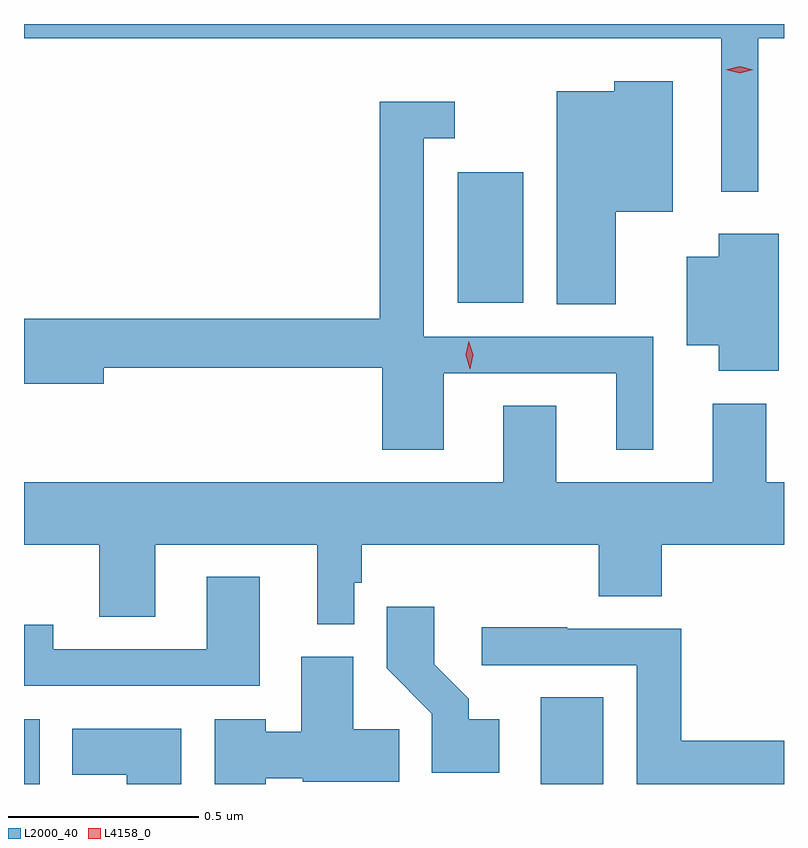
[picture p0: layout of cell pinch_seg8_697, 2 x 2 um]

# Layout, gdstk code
import gdstk
lib = gdstk.Library(unit=1e-6, precision=1e-09)
def R(c, l, rs):  # rectangles x0, y0, x1, y1
    for r in rs: c.add(gdstk.rectangle(r[:2], r[2:], *l))
def P(c, l, *ps):  # polygons
    for p in ps: c.add(gdstk.Polygon(p, *l))
L2000_40 = (2000, 40)
L4158_0 = (4158, 0)

pinch_seg8_697 = lib.new_cell('pinch_seg8_697')
R(pinch_seg8_697, L2000_40, [(244.102,1114.538,244.144,1114.708), (245.462,1114.538,245.626,1114.766), (245.243,1115.804,245.416,1116.148)])
P(pinch_seg8_697, L2000_40, [(246.034,1116.5),(246.102,1116.5),(246.102,1116.538),(244.102,1116.538),(244.102,1116.5),(245.937,1116.5),(245.937,1116.096),(246.034,1116.096)],
  [(245.659,1116.044),(245.809,1116.044),(245.809,1116.388),(245.655,1116.388),(245.655,1116.361),(245.504,1116.361),(245.504,1115.8),(245.659,1115.8)],
  [(245.206,1115.619),(245.66,1115.619),(245.66,1115.418),(245.758,1115.418),(245.758,1115.715),(245.154,1115.715),(245.154,1116.237),(245.236,1116.237),(245.236,1116.334),(245.038,1116.334),(245.038,1115.762),(244.102,1115.762),(244.102,1115.591),(244.312,1115.591),(244.312,1115.634),(245.045,1115.634),(245.045,1115.418),(245.206,1115.418)],
  [(246.088,1115.986),(245.93,1115.986),(245.93,1115.926),(245.846,1115.926),(245.846,1115.693),(245.93,1115.693),(245.93,1115.625),(246.088,1115.625)],
  [(244.971,1115.067),(244.991,1115.067),(244.991,1115.168),(245.615,1115.168),(245.615,1115.032),(245.78,1115.032),(245.78,1115.168),(246.102,1115.168),(246.102,1115.332),(246.055,1115.332),(246.055,1115.539),(245.915,1115.539),(245.915,1115.332),(245.503,1115.332),(245.503,1115.534),(245.363,1115.534),(245.363,1115.332),(244.102,1115.332),(244.102,1115.168),(244.3,1115.168),(244.3,1114.978),(244.447,1114.978),(244.447,1115.168),(244.874,1115.168),(244.874,1114.958),(244.971,1114.958)],
  [(244.723,1115.083),(244.583,1115.083),(244.583,1114.893),(244.179,1114.893),(244.179,1114.957),(244.102,1114.957),(244.102,1114.797),(244.723,1114.797)],
  [(245.353,1114.708),(245.272,1114.708),(245.272,1114.763),(245.182,1114.853),(245.182,1115.005),(245.056,1115.005),(245.056,1114.842),(245.175,1114.723),(245.175,1114.568),(245.353,1114.568)],
  [(246.102,1114.652),(245.831,1114.652),(245.831,1114.947),(245.531,1114.947),(245.531,1114.95),(245.307,1114.95),(245.307,1114.851),(245.715,1114.851),(245.715,1114.538),(246.102,1114.538)],
  [(244.738,1114.553),(244.836,1114.553),(244.836,1114.544),(245.09,1114.544),(245.09,1114.682),(244.969,1114.682),(244.969,1114.873),(244.832,1114.873),(244.832,1114.675),(244.738,1114.675),(244.738,1114.708),(244.604,1114.708),(244.604,1114.538),(244.738,1114.538)],
  [(244.516,1114.684),(244.229,1114.684),(244.229,1114.562),(244.373,1114.562),(244.373,1114.538),(244.516,1114.538)])
P(pinch_seg8_697, L4158_0, [(245.985,1116.408),(245.949,1116.418),(245.949,1116.418),(245.949,1116.418),(245.985,1116.427),(246.021,1116.417),(246.021,1116.417),(246.021,1116.417)],
  [(245.275,1115.631),(245.275,1115.631),(245.264,1115.667),(245.272,1115.703),(245.272,1115.703),(245.273,1115.703),(245.284,1115.667),(245.276,1115.631)])

lib.write_gds('pinch_seg8_697.gds')
